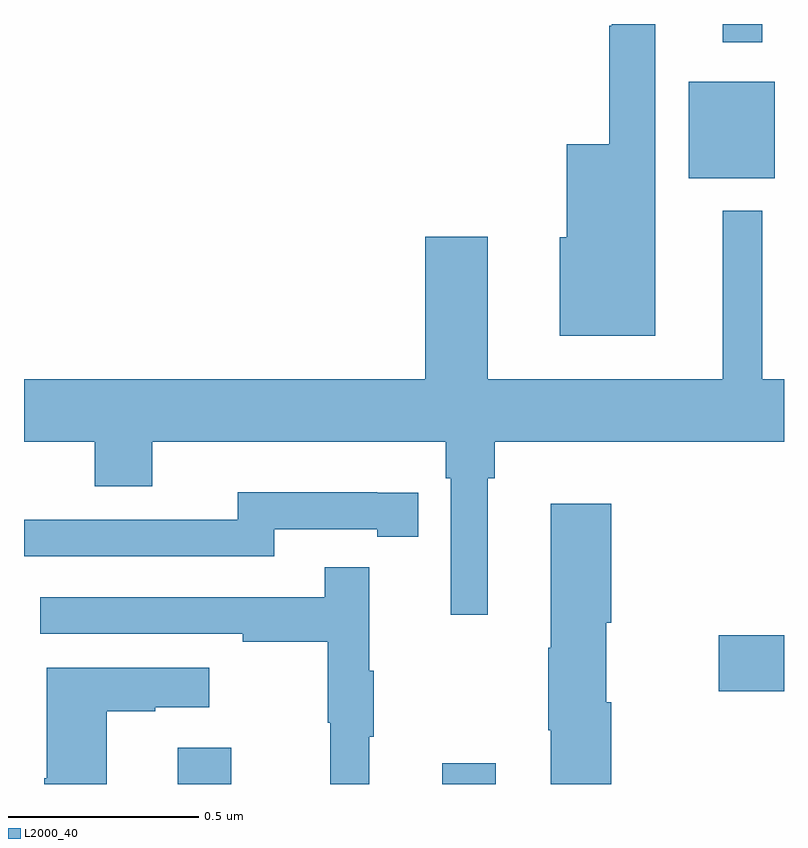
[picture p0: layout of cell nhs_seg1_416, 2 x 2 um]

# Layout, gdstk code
import gdstk
lib = gdstk.Library(unit=1e-6, precision=1e-09)
def R(c, l, rs):  # rectangles x0, y0, x1, y1
    for r in rs: c.add(gdstk.rectangle(r[:2], r[2:], *l))
def P(c, l, *ps):  # polygons
    for p in ps: c.add(gdstk.Polygon(p, *l))
L2000_40 = (2000, 40)

nhs_seg1_416 = lib.new_cell('nhs_seg1_416')
R(nhs_seg1_416, L2000_40, [(116.405,516.199,116.545,516.295), (117.101,516.199,117.241,516.253), (117.828,516.443,118,516.59), (117.749,517.793,117.976,518.047), (117.839,518.151,117.943,518.199)])
P(nhs_seg1_416, L2000_40, [(117.661,518.199),(117.547,518.199),(117.547,518.195),(117.54,518.195),(117.54,517.882),(117.428,517.882),(117.428,517.638),(117.41,517.638),(117.41,517.379),(117.661,517.379)],
  [(117.22,517.004),(117.239,517.004),(117.239,517.1),(118,517.1),(118,517.264),(117.943,517.264),(117.943,517.708),(117.839,517.708),(117.839,517.264),(117.22,517.264),(117.22,517.639),(117.056,517.639),(117.056,517.264),(116,517.264),(116,517.1),(116.186,517.1),(116.186,516.983),(116.338,516.983),(116.338,517.1),(117.11,517.1),(117.11,517.004),(117.123,517.004),(117.123,516.645),(117.22,516.645)],
  [(116.658,516.87),(116.93,516.87),(116.93,516.85),(117.038,516.85),(117.038,516.966),(116.93,516.966),(116.93,516.967),(116.562,516.967),(116.562,516.894),(116.102,516.894),(116.102,516.895),(116,516.895),(116,516.798),(116.658,516.798)],
  [(117.545,516.414),(117.532,516.414),(117.532,516.624),(117.545,516.624),(117.545,516.937),(117.386,516.937),(117.386,516.557),(117.379,516.557),(117.379,516.34),(117.386,516.34),(117.386,516.199),(117.545,516.199)],
  [(116.909,516.323),(116.92,516.323),(116.92,516.497),(116.909,516.497),(116.909,516.769),(116.791,516.769),(116.791,516.69),(116.043,516.69),(116.043,516.594),(116.575,516.594),(116.575,516.574),(116.799,516.574),(116.799,516.36),(116.806,516.36),(116.806,516.199),(116.909,516.199)],
  [(116.218,516.391),(116.345,516.391),(116.345,516.401),(116.488,516.401),(116.488,516.505),(116.06,516.505),(116.06,516.214),(116.053,516.214),(116.053,516.199),(116.218,516.199)])

lib.write_gds('nhs_seg1_416.gds')
